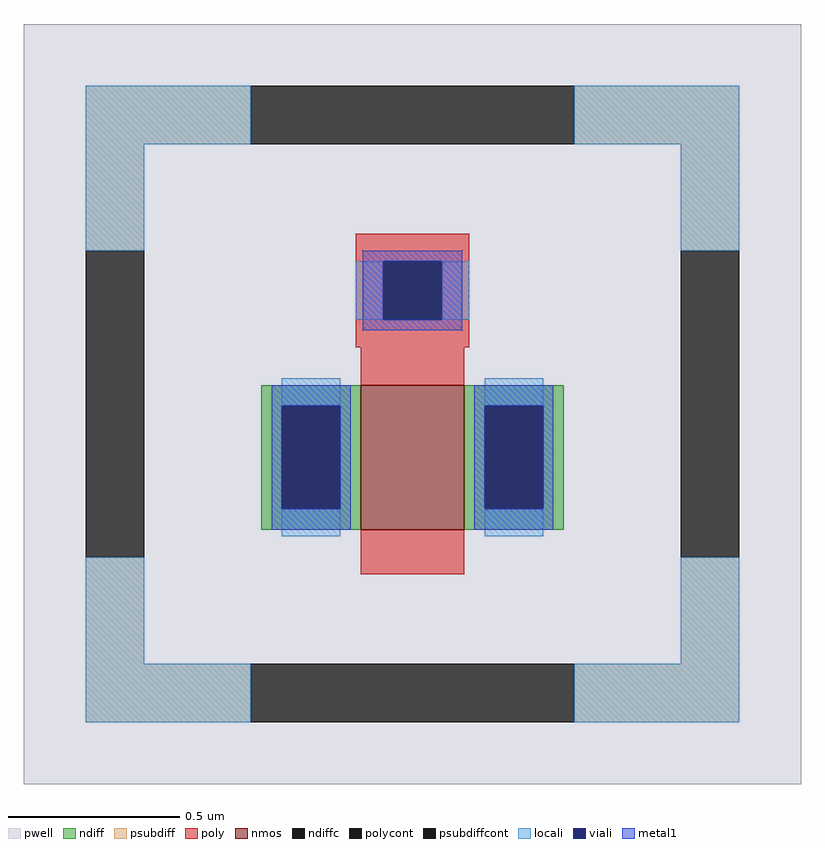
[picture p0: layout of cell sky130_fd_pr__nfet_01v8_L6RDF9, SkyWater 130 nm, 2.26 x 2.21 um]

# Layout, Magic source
magic
tech sky130A
magscale 1 2
<< pwell >>
rect -226 -221 226 221
<< nmos >>
rect -30 -73 30 11
<< ndiff >>
rect -88 -1 -30 11
rect -88 -61 -76 -1
rect -42 -61 -30 -1
rect -88 -73 -30 -61
rect 30 -1 88 11
rect 30 -61 42 -1
rect 76 -61 88 -1
rect 30 -73 88 -61
<< ndiffc >>
rect -76 -61 -42 -1
rect 42 -61 76 -1
<< psubdiff >>
rect -190 151 -94 185
rect 94 151 190 185
rect -190 89 -156 151
rect 156 89 190 151
rect -190 -151 -156 -89
rect 156 -151 190 -89
rect -190 -185 -94 -151
rect 94 -185 190 -151
<< psubdiffcont >>
rect -94 151 94 185
rect -190 -89 -156 89
rect 156 -89 190 89
rect -94 -185 94 -151
<< poly >>
rect -33 83 33 99
rect -33 49 -17 83
rect 17 49 33 83
rect -33 33 33 49
rect -30 11 30 33
rect -30 -99 30 -73
<< polycont >>
rect -17 49 17 83
<< locali >>
rect -190 151 -94 185
rect 94 151 190 185
rect -190 89 -156 151
rect 156 89 190 151
rect -33 49 -17 83
rect 17 49 33 83
rect -76 -1 -42 15
rect -76 -77 -42 -61
rect 42 -1 76 15
rect 42 -77 76 -61
rect -190 -151 -156 -89
rect 156 -151 190 -89
rect -190 -185 -94 -151
rect 94 -185 190 -151
<< viali >>
rect -17 49 17 83
rect -76 -61 -42 -1
rect 42 -61 76 -1
<< metal1 >>
rect -29 83 29 89
rect -29 49 -17 83
rect 17 49 29 83
rect -29 43 29 49
rect -82 -1 -36 11
rect -82 -61 -76 -1
rect -42 -61 -36 -1
rect -82 -73 -36 -61
rect 36 -1 82 11
rect 36 -61 42 -1
rect 76 -61 82 -1
rect 36 -73 82 -61
<< properties >>
string FIXED_BBOX -173 -168 173 168
string gencell sky130_fd_pr__nfet_01v8
string library sky130
string parameters w 0.42 l 0.3 m 1 nf 1 diffcov 100 polycov 100 guard 1 glc 1 grc 1 gtc 1 gbc 1 tbcov 100 rlcov 100 topc 1 botc 0 poverlap 0 doverlap 1 lmin 0.15 wmin 0.42 compatible {sky130_fd_pr__nfet_01v8 sky130_fd_pr__nfet_01v8_lvt  sky130_fd_bs_flash__special_sonosfet_star  sky130_fd_pr__nfet_g5v0d10v5 sky130_fd_pr__nfet_05v0_nvt  sky130_fd_pr__nfet_03v3_nvt} full_metal 1 viasrc 100 viadrn 100 viagate 100 viagb 0 viagr 0 viagl 0 viagt 0
<< end >>
